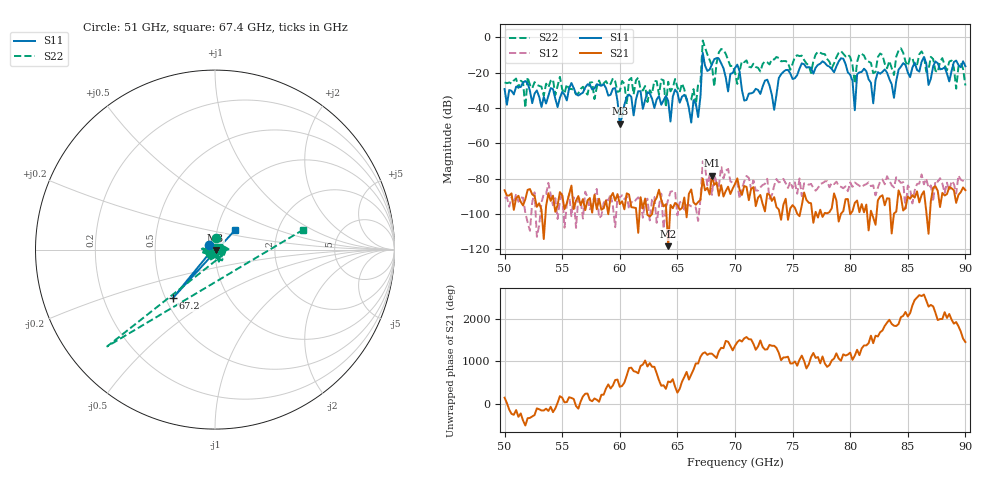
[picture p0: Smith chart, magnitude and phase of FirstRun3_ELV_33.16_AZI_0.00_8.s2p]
! 11/24/2026 3:30:58 PM
! C:\ANRITSUVNA\TEMP\TEMP.S2P
! CHANNEL.1
! TR.MEASUREMENT
! RAW.DATA
# HZ S RI R 50.0
! FREQ.HZ  S11RE  S11IM  S21RE  S21IM  S12RE  S12IM  S22RE  S22IM
!; PortSelection: Port_12
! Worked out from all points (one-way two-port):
!   201 points, 50 GHz to 90 GHz, reference 50 ohm
!   highest |S21| = -78.34 dB at 68 GHz (marker M1); lowest = -118.3 dB at 64.2 GHz (marker M2)
!   lowest |S11| = -48.9 dB at 60 GHz (marker M3), VSWR 1.01, Z = 50.3 - j0.155 ohm
!   |S11| at or under -10 dB: start of sweep to 67.19 GHz; 67.23 GHz to end of sweep
!   |S22| runs from -40.0 to -1.9 dB; largest |S21 - S12| = 0.00024
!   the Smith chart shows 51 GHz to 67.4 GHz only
!   S11 on the Smith chart (normalised r, x): 51 GHz: 0.94, +0.05; 67.2 GHz: 0.54, -0.34; 67.4 GHz: 1.22, +0.27
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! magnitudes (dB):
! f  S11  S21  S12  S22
! 50 GHz  -29.3  -86.6  -91.0  -25.6
! 51 GHz  -28.0  -91.1  -88.7  -23.4
! 51.8 GHz  -24.8  -91.7  -99.5  -40.0
! 52 GHz  -26.0  -86.4  -104.8  -22.6
! 56.8 GHz  -31.4  -91.7  -102.7  -28.1
! 59.6 GHz  -28.8  -92.6  -107.6  -25.0
! 60 GHz  -48.9  -94.5  -90.6  -30.5
! 63.4 GHz  -33.4  -86.3  -95.5  -32.6
! 64.2 GHz  -36.0  -118.3  -91.9  -25.2
! 66.8 GHz  -45.3  -93.3  -104.1  -26.5
! 67.2 GHz  -8.9  -80.0  -70.2  -1.9
! 67.4 GHz  -16.1  -86.7  -73.3  -5.9
! 68 GHz  -15.5  -78.3  -89.3  -16.2
! 70 GHz  -17.5  -83.1  -81.9  -19.9
! 73.4 GHz  -41.1  -90.5  -84.1  -12.6
! 74.2 GHz  -19.7  -94.8  -80.2  -13.5
! 76.8 GHz  -20.6  -105.1  -85.3  -13.6
! 79.4 GHz  -12.2  -98.5  -85.5  -9.4
! 80.4 GHz  -41.4  -93.8  -82.3  -26.3
! 80.6 GHz  -21.0  -92.5  -83.2  -14.0
! 83.4 GHz  -23.7  -91.3  -81.3  -13.5
! 90 GHz  -16.5  -86.6  -82.1  -27.3
